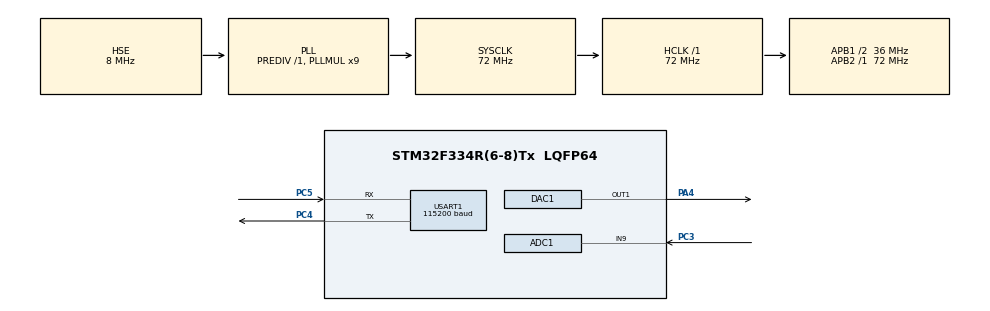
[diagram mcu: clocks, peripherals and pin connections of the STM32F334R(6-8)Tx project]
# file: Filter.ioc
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ADC1.Channel-1\#ChannelRegularConversion=ADC_CHANNEL_9
ADC1.ContinuousConvMode=DISABLE
ADC1.DMAContinuousRequests=ENABLE
ADC1.ExternalTrigConv=ADC_EXTERNALTRIGCONV_T6_TRGO
ADC1.NbrOfConversionFlag=1
ADC1.Offset-1\#ChannelRegularConversion=0
ADC1.OffsetNumber-1\#ChannelRegularConversion=ADC_OFFSET_NONE
ADC1.Rank-1\#ChannelRegularConversion=1
ADC1.SamplingTime-1\#ChannelRegularConversion=ADC_SAMPLETIME_1CYCLE_5
ADC1.SamplingTimeOPAMP-1\#ChannelRegularConversion=ADC_SAMPLETIME_4CYCLES_5
ADC1.SubFamily=STM32F334x8
ADC1.master=1
DAC1.DAC_Trigger=DAC_TRIGGER_T6_TRGO
Dma.ADC1.0.Direction=DMA_PERIPH_TO_MEMORY
Dma.ADC1.0.Instance=DMA1_Channel1
Dma.ADC1.0.MemDataAlignment=DMA_MDATAALIGN_WORD
Dma.ADC1.0.MemInc=DMA_MINC_ENABLE
Dma.ADC1.0.Mode=DMA_CIRCULAR
Dma.ADC1.0.PeriphDataAlignment=DMA_PDATAALIGN_HALFWORD
Dma.ADC1.0.PeriphInc=DMA_PINC_DISABLE
Dma.ADC1.0.Priority=DMA_PRIORITY_HIGH
Dma.DAC1_CH1.3.Direction=DMA_MEMORY_TO_PERIPH
Dma.DAC1_CH1.3.Instance=DMA1_Channel3
Dma.DAC1_CH1.3.MemDataAlignment=DMA_MDATAALIGN_WORD
Dma.DAC1_CH1.3.MemInc=DMA_MINC_ENABLE
Dma.DAC1_CH1.3.Mode=DMA_CIRCULAR
Dma.DAC1_CH1.3.PeriphDataAlignment=DMA_PDATAALIGN_WORD
Dma.DAC1_CH1.3.PeriphInc=DMA_PINC_DISABLE
Dma.DAC1_CH1.3.Priority=DMA_PRIORITY_HIGH
Dma.Request0=ADC1
Dma.Request1=USART1_RX
Dma.Request2=USART1_TX
Dma.Request3=DAC1_CH1
Dma.USART1_RX.1.Direction=DMA_PERIPH_TO_MEMORY
Dma.USART1_RX.1.Instance=DMA1_Channel5
Dma.USART1_RX.1.MemDataAlignment=DMA_MDATAALIGN_WORD
Dma.USART1_RX.1.MemInc=DMA_MINC_ENABLE
Dma.USART1_RX.1.Mode=DMA_CIRCULAR
Dma.USART1_RX.1.PeriphDataAlignment=DMA_PDATAALIGN_WORD
Dma.USART1_RX.1.PeriphInc=DMA_PINC_DISABLE
Dma.USART1_RX.1.Priority=DMA_PRIORITY_HIGH
Dma.USART1_TX.2.Direction=DMA_MEMORY_TO_PERIPH
Dma.USART1_TX.2.Instance=DMA1_Channel4
Dma.USART1_TX.2.MemDataAlignment=DMA_MDATAALIGN_WORD
Dma.USART1_TX.2.MemInc=DMA_MINC_ENABLE
Dma.USART1_TX.2.Mode=DMA_CIRCULAR
Dma.USART1_TX.2.PeriphDataAlignment=DMA_PDATAALIGN_WORD
Dma.USART1_TX.2.PeriphInc=DMA_PINC_DISABLE
Dma.USART1_TX.2.Priority=DMA_PRIORITY_HIGH
Mcu.Family=STM32F3
Mcu.Name=STM32F334R(6-8)Tx
Mcu.Package=LQFP64
NVIC.DMA1_Channel1_IRQn=true\:0\:0\:false\:false\:true\:false\:true\:true
NVIC.DMA1_Channel3_IRQn=true\:0\:0\:false\:false\:true\:false\:true\:true
NVIC.DMA1_Channel4_IRQn=true\:0\:0\:false\:false\:true\:false\:true\:true
NVIC.DMA1_Channel5_IRQn=true\:0\:0\:false\:false\:true\:false\:true\:true
NVIC.PriorityGroup=NVIC_PRIORITYGROUP_4
PA13.Mode=Serial_Wire
PA13.Signal=SYS_JTMS-SWDIO
PA14.Mode=Serial_Wire
PA14.Signal=SYS_JTCK-SWCLK
PA4.Signal=COMP_DAC11_group
PC3.Signal=ADCx_IN9
PC4.Mode=Asynchronous
PC4.Signal=USART1_TX
PC5.Mode=Asynchronous
PC5.Signal=USART1_RX
PF0\ /\ OSC_IN.Mode=HSE-External-Oscillator
PF0\ /\ OSC_IN.Signal=RCC_OSC_IN
PF1\ /\ OSC_OUT.Mode=HSE-External-Oscillator
PF1\ /\ OSC_OUT.Signal=RCC_OSC_OUT
ProjectManager.HeapSize=0x200
ProjectManager.StackSize=0x400
ProjectManager.TargetToolchain=STM32CubeIDE
RCC.AHBFreq_Value=72000000
RCC.APB1CLKDivider=RCC_HCLK_DIV2
RCC.APB1Freq_Value=36000000
RCC.APB1TimFreq_Value=72000000
RCC.APB2Freq_Value=72000000
RCC.APB2TimFreq_Value=72000000
RCC.CortexFreq_Value=72000000
RCC.HCLKFreq_Value=72000000
RCC.HSE_VALUE=8000000
RCC.HSI_VALUE=8000000
RCC.LSE_VALUE=32768
RCC.PLLMUL=RCC_PLL_MUL9
RCC.PLLSourceVirtual=RCC_PLLSOURCE_HSE
RCC.SYSCLKFreq_VALUE=72000000
RCC.SYSCLKSourceVirtual=RCC_SYSCLKSOURCE_PLLCLK
SH.ADCx_IN9.0=ADC1_IN9,IN9-Single-Ended
SH.COMP_DAC11_group.0=DAC1_OUT1,DAC_OUT1
TIM6.AutoReloadPreload=TIM_AUTORELOAD_PRELOAD_DISABLE
TIM6.Prescaler=20
TIM6.TIM_MasterOutputTrigger=TIM_TRGO_UPDATE
USART1.BaudRate=115200
USART1.VirtualMode-Asynchronous=VM_ASYNC
VP_TIM6_VS_ClockSourceINT.Mode=Enable_Timer
board=custom

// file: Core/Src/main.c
/* USER CODE BEGIN Header */
/**
  ******************************************************************************
  * @file           : main.c
  * @brief          : Main program body
  ******************************************************************************
  * @attention
  *
  * Copyright (c) 2025 STMicroelectronics.
  * All rights reserved.
  *
  * This software is licensed under terms that can be found in the LICENSE file
  * in the root directory of this software component.
  * If no LICENSE file comes with this software, it is provided AS-IS.
  *
  ******************************************************************************
  */
/* USER CODE END Header */
#include "main.h"

/* USER CODE BEGIN Includes */
#include "FIR_Filter.h"

/* USER CODE END Includes */
#define BUFFER_SIZE 512  // Adjust as needed for ADC and DAC buffer size
#define HALF_BUFFER_SIZE (BUFFER_SIZE / 2)

ADC_HandleTypeDef hadc1;
DMA_HandleTypeDef hdma_adc1;

DAC_HandleTypeDef hdac1;
DMA_HandleTypeDef hdma_dac1_ch1;

TIM_HandleTypeDef htim6;

UART_HandleTypeDef huart1;
DMA_HandleTypeDef hdma_usart1_rx;
DMA_HandleTypeDef hdma_usart1_tx;

/* USER CODE BEGIN PV */
uint16_t adc_buffer[BUFFER_SIZE];   // ADC buffer (input)
uint16_t dac_buffer[BUFFER_SIZE];   // DAC buffer (output)
float filt_in[BUFFER_SIZE];         // Filter input buffer
float filt_out[BUFFER_SIZE];        // Filter output buffer

#define FIR_ORDER 4
float fir_coeff[FIR_ORDER] = {0.25, 0.25, 0.25, 0.25};  // Example FIR coefficients
float fir_buffer[FIR_ORDER] = {0};                      // Internal buffer for FIR
FIRFilter fir_filter;                                   // FIR filter instance

/* USER CODE END PV */

void SystemClock_Config(void);
static void MX_GPIO_Init(void);
static void MX_DMA_Init(void);
static void MX_ADC1_Init(void);
static void MX_USART1_UART_Init(void);
static void MX_DAC1_Init(void);
static void MX_TIM6_Init(void);

/* USER CODE BEGIN 0 */
void setup_filter() {
    FIRFilter_Init(&fir_filter, fir_coeff, fir_buffer, FIR_ORDER);
}

/* USER CODE END 0 */

int main(void)
{

  /* MCU Configuration--------------------------------------------------------*/

  /* Reset of all peripherals, Initializes the Flash interface and the Systick. */
  HAL_Init();

  /* Configure the system clock */
  SystemClock_Config();

  /* Initialize all configured peripherals */
  MX_GPIO_Init();
  MX_DMA_Init();
  MX_ADC1_Init();
  MX_USART1_UART_Init();
  MX_DAC1_Init();
  MX_TIM6_Init();
  /* USER CODE BEGIN 2 */

  FIRFilter_Init(&fir_filter, fir_coeff, fir_buffer, FIR_ORDER);

  /* USER CODE END 2 */

  /* Infinite loop */
  while (1)
  {

  }
}

void SystemClock_Config(void)
{
  RCC_OscInitTypeDef RCC_OscInitStruct = {0};
  RCC_ClkInitTypeDef RCC_ClkInitStruct = {0};
  RCC_PeriphCLKInitTypeDef PeriphClkInit = {0};

  /** Initializes the RCC Oscillators according to the specified parameters
  * in the RCC_OscInitTypeDef structure.
  */
  RCC_OscInitStruct.OscillatorType = RCC_OSCILLATORTYPE_HSE;
  RCC_OscInitStruct.HSEState = RCC_HSE_ON;
  RCC_OscInitStruct.HSEPredivValue = RCC_HSE_PREDIV_DIV1;
  RCC_OscInitStruct.HSIState = RCC_HSI_ON;
  RCC_OscInitStruct.PLL.PLLState = RCC_PLL_ON;
  RCC_OscInitStruct.PLL.PLLSource = RCC_PLLSOURCE_HSE;
  RCC_OscInitStruct.PLL.PLLMUL = RCC_PLL_MUL9;
  if (HAL_RCC_OscConfig(&RCC_OscInitStruct) != HAL_OK)
  {
    Error_Handler();
  }

  /** Initializes the CPU, AHB and APB buses clocks
  */
  RCC_ClkInitStruct.ClockType = RCC_CLOCKTYPE_HCLK|RCC_CLOCKTYPE_SYSCLK
                              |RCC_CLOCKTYPE_PCLK1|RCC_CLOCKTYPE_PCLK2;
  RCC_ClkInitStruct.SYSCLKSource = RCC_SYSCLKSOURCE_PLLCLK;
  RCC_ClkInitStruct.AHBCLKDivider = RCC_SYSCLK_DIV1;
  RCC_ClkInitStruct.APB1CLKDivider = RCC_HCLK_DIV2;
  RCC_ClkInitStruct.APB2CLKDivider = RCC_HCLK_DIV1;

  if (HAL_RCC_ClockConfig(&RCC_ClkInitStruct, FLASH_LATENCY_2) != HAL_OK)
  {
    Error_Handler();
  }
  PeriphClkInit.PeriphClockSelection = RCC_PERIPHCLK_USART1|RCC_PERIPHCLK_ADC12;
  PeriphClkInit.Usart1ClockSelection = RCC_USART1CLKSOURCE_PCLK1;
  PeriphClkInit.Adc12ClockSelection = RCC_ADC12PLLCLK_DIV1;
  if (HAL_RCCEx_PeriphCLKConfig(&PeriphClkInit) != HAL_OK)
  {
    Error_Handler();
  }
}

static void MX_ADC1_Init(void)
{

  ADC_MultiModeTypeDef multimode = {0};
  ADC_ChannelConfTypeDef sConfig = {0};

  /** Common config
  */
  hadc1.Instance = ADC1;
  hadc1.Init.ClockPrescaler = ADC_CLOCK_ASYNC_DIV1;
  hadc1.Init.Resolution = ADC_RESOLUTION_12B;
  hadc1.Init.ScanConvMode = ADC_SCAN_DISABLE;
  hadc1.Init.ContinuousConvMode = DISABLE;
  hadc1.Init.DiscontinuousConvMode = DISABLE;
  hadc1.Init.ExternalTrigConvEdge = ADC_EXTERNALTRIGCONVEDGE_RISING;
  hadc1.Init.ExternalTrigConv = ADC_EXTERNALTRIGCONV_T6_TRGO;
  hadc1.Init.DataAlign = ADC_DATAALIGN_RIGHT;
  hadc1.Init.NbrOfConversion = 1;
  hadc1.Init.DMAContinuousRequests = ENABLE;
  hadc1.Init.EOCSelection = ADC_EOC_SINGLE_CONV;
  hadc1.Init.LowPowerAutoWait = DISABLE;
  hadc1.Init.Overrun = ADC_OVR_DATA_OVERWRITTEN;
  if (HAL_ADC_Init(&hadc1) != HAL_OK)
  {
    Error_Handler();
  }

  /** Configure the ADC multi-mode
  */
  multimode.Mode = ADC_MODE_INDEPENDENT;
  if (HAL_ADCEx_MultiModeConfigChannel(&hadc1, &multimode) != HAL_OK)
  {
    Error_Handler();
  }

  /** Configure Regular Channel
  */
  sConfig.Channel = ADC_CHANNEL_9;
  sConfig.Rank = ADC_REGULAR_RANK_1;
  sConfig.SingleDiff = ADC_SINGLE_ENDED;
  sConfig.SamplingTime = ADC_SAMPLETIME_1CYCLE_5;
  sConfig.OffsetNumber = ADC_OFFSET_NONE;
  sConfig.Offset = 0;
  if (HAL_ADC_ConfigChannel(&hadc1, &sConfig) != HAL_OK)
  {
    Error_Handler();
  }

}

static void MX_DAC1_Init(void)
{

  DAC_ChannelConfTypeDef sConfig = {0};

  /** DAC Initialization
  */
  hdac1.Instance = DAC1;
  if (HAL_DAC_Init(&hdac1) != HAL_OK)
  {
    Error_Handler();
  }

  /** DAC channel OUT1 config
  */
  sConfig.DAC_Trigger = DAC_TRIGGER_T6_TRGO;
  sConfig.DAC_OutputBuffer = DAC_OUTPUTBUFFER_ENABLE;
  if (HAL_DAC_ConfigChannel(&hdac1, &sConfig, DAC_CHANNEL_1) != HAL_OK)
  {
    Error_Handler();
  }

}

static void MX_TIM6_Init(void)
{

  TIM_MasterConfigTypeDef sMasterConfig = {0};

  htim6.Instance = TIM6;
  htim6.Init.Prescaler = 20;
  htim6.Init.CounterMode = TIM_COUNTERMODE_UP;
  htim6.Init.Period = 65535;
  htim6.Init.AutoReloadPreload = TIM_AUTORELOAD_PRELOAD_DISABLE;
  if (HAL_TIM_Base_Init(&htim6) != HAL_OK)
  {
    Error_Handler();
  }
  sMasterConfig.MasterOutputTrigger = TIM_TRGO_UPDATE;
  sMasterConfig.MasterSlaveMode = TIM_MASTERSLAVEMODE_DISABLE;
  if (HAL_TIMEx_MasterConfigSynchronization(&htim6, &sMasterConfig) != HAL_OK)
  {
    Error_Handler();
  }

}

static void MX_USART1_UART_Init(void)
{

  huart1.Instance = USART1;
  huart1.Init.BaudRate = 115200;
  huart1.Init.WordLength = UART_WORDLENGTH_8B;
  huart1.Init.StopBits = UART_STOPBITS_1;
  huart1.Init.Parity = UART_PARITY_NONE;
  huart1.Init.Mode = UART_MODE_TX_RX;
  huart1.Init.HwFlowCtl = UART_HWCONTROL_NONE;
  huart1.Init.OverSampling = UART_OVERSAMPLING_16;
  huart1.Init.OneBitSampling = UART_ONE_BIT_SAMPLE_DISABLE;
  huart1.AdvancedInit.AdvFeatureInit = UART_ADVFEATURE_NO_INIT;
  if (HAL_UART_Init(&huart1) != HAL_OK)
  {
    Error_Handler();
  }

}

static void MX_DMA_Init(void)
{

  /* DMA controller clock enable */
  __HAL_RCC_DMA1_CLK_ENABLE();

  /* DMA interrupt init */
  /* DMA1_Channel1_IRQn interrupt configuration */
  HAL_NVIC_SetPriority(DMA1_Channel1_IRQn, 0, 0);
  HAL_NVIC_EnableIRQ(DMA1_Channel1_IRQn);
  /* DMA1_Channel3_IRQn interrupt configuration */
  HAL_NVIC_SetPriority(DMA1_Channel3_IRQn, 0, 0);
  HAL_NVIC_EnableIRQ(DMA1_Channel3_IRQn);
  /* DMA1_Channel4_IRQn interrupt configuration */
  HAL_NVIC_SetPriority(DMA1_Channel4_IRQn, 0, 0);
  HAL_NVIC_EnableIRQ(DMA1_Channel4_IRQn);
  /* DMA1_Channel5_IRQn interrupt configuration */
  HAL_NVIC_SetPriority(DMA1_Channel5_IRQn, 0, 0);
  HAL_NVIC_EnableIRQ(DMA1_Channel5_IRQn);

}

static void MX_GPIO_Init(void)
{

  /* GPIO Ports Clock Enable */
  __HAL_RCC_GPIOF_CLK_ENABLE();
  __HAL_RCC_GPIOC_CLK_ENABLE();
  __HAL_RCC_GPIOA_CLK_ENABLE();

}

/* USER CODE BEGIN 4 */

void HAL_ADC_ConvHalfCpltCallback(ADC_HandleTypeDef* hadc) {
    for (uint32_t n = 0; n < HALF_BUFFER_SIZE; n++) {
        filt_in[n] = (float)adc_buffer[n] / 4095.0f;  // Normalize ADC input
        filt_out[n] = FIRFilter_Update(&fir_filter, filt_in[n]);  // Apply FIR filter
        dac_buffer[n] = (uint16_t)(filt_out[n] * 4095.0f);  // Scale for DAC
    }
}

// DMA Callback: Full transfer complete
void HAL_ADC_ConvCpltCallback(ADC_HandleTypeDef* hadc) {
    for (uint32_t n = HALF_BUFFER_SIZE; n < BUFFER_SIZE; n++) {
        filt_in[n] = (float)adc_buffer[n] / 4095.0f;  // Normalize ADC input
        filt_out[n] = FIRFilter_Update(&fir_filter, filt_in[n]);  // Apply FIR filter
        dac_buffer[n] = (uint16_t)(filt_out[n] * 4095.0f);  // Scale for DAC
    }
}

/* USER CODE END 4 */

void Error_Handler(void)
{
  __disable_irq();
  while (1)
  {
  }
}
